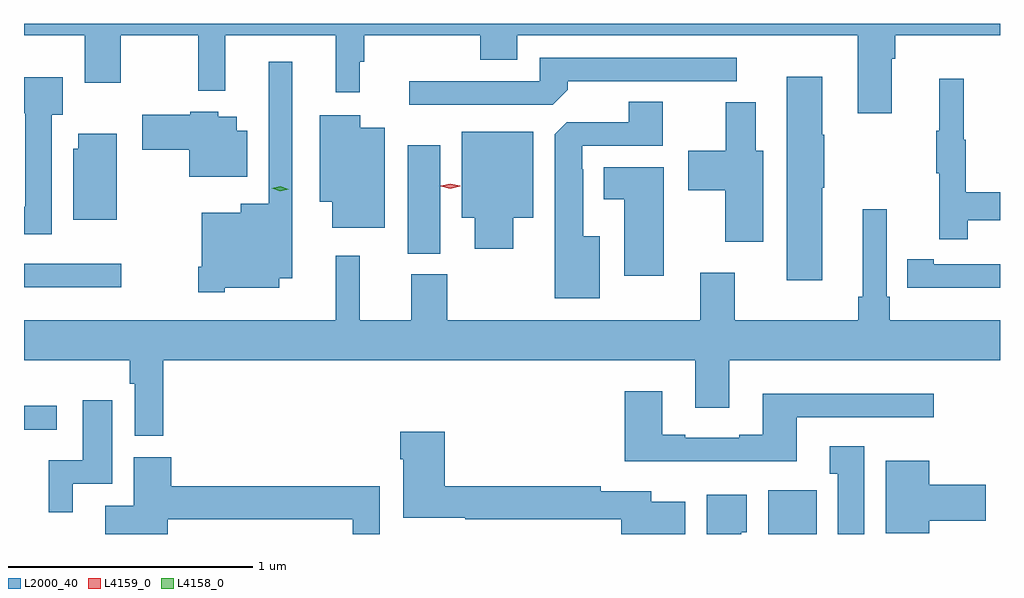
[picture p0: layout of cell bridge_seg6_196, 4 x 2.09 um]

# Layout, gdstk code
import gdstk
lib = gdstk.Library(unit=1e-6, precision=1e-09)
def R(c, l, rs):  # rectangles x0, y0, x1, y1
    for r in rs: c.add(gdstk.rectangle(r[:2], r[2:], *l))
def P(c, l, *ps):  # polygons
    for p in ps: c.add(gdstk.Polygon(p, *l))
L2000_40 = (2000, 40)
L4158_0 = (4158, 0)
L4159_0 = (4159, 0)

bridge_seg6_196 = lib.new_cell('bridge_seg6_196')
R(bridge_seg6_196, L2000_40, [(145.307,995.907,145.504,996.088), (142.256,996.336,142.39,996.434), (142.256,996.92,142.654,997.017), (143.828,997.057,143.962,997.501)])
P(bridge_seg6_196, L2000_40, [(145.813,997.856),(145.826,997.856),(145.826,997.952),(146.256,997.952),(146.256,998),(142.256,998),(142.256,997.952),(142.505,997.952),(142.505,997.758),(142.653,997.758),(142.653,997.952),(142.971,997.952),(142.971,997.724),(143.081,997.724),(143.081,997.952),(143.534,997.952),(143.534,997.719),(143.633,997.719),(143.633,997.844),(143.651,997.844),(143.651,997.952),(144.125,997.952),(144.125,997.853),(144.277,997.853),(144.277,997.952),(145.673,997.952),(145.673,997.632),(145.813,997.632)],
  [(144.485,997.73),(144.485,997.764),(145.177,997.764),(145.177,997.86),(144.369,997.86),(144.369,997.764),(143.835,997.764),(143.835,997.668),(144.423,997.668)],
  [(143.079,996.917),(143.302,996.917),(143.302,996.956),(143.355,996.956),(143.355,997.843),(143.259,997.843),(143.259,997.261),(143.144,997.261),(143.144,997.225),(142.985,997.225),(142.985,997.003),(142.971,997.003),(142.971,996.899),(143.079,996.899)],
  [(145.528,997.327),(145.536,997.327),(145.536,997.544),(145.528,997.544),(145.528,997.783),(145.382,997.783),(145.382,996.948),(145.528,996.948)],
  [(142.369,997.626),(142.414,997.626),(142.414,997.78),(142.256,997.78),(142.256,997.633),(142.262,997.633),(142.262,997.25),(142.256,997.25),(142.256,997.137),(142.369,997.137)],
  [(146.123,997.194),(146.256,997.194),(146.256,997.31),(146.116,997.31),(146.116,997.524),(146.108,997.524),(146.108,997.774),(146.006,997.774),(146.006,997.561),(145.995,997.561),(145.995,997.387),(146.006,997.387),(146.006,997.116),(146.123,997.116)],
  [(144.616,997.129),(144.547,997.129),(144.547,997.403),(144.543,997.403),(144.543,997.5),(144.874,997.5),(144.874,997.679),(144.734,997.679),(144.734,997.596),(144.48,997.596),(144.431,997.547),(144.431,996.875),(144.616,996.875)],
  [(145.285,997.48),(145.255,997.48),(145.255,997.678),(145.133,997.678),(145.133,997.48),(144.978,997.48),(144.978,997.318),(145.13,997.318),(145.13,997.107),(145.285,997.107)],
  [(143.17,997.561),(143.128,997.561),(143.128,997.618),(143.052,997.618),(143.052,997.639),(142.938,997.639),(142.938,997.626),(142.74,997.626),(142.74,997.484),(142.934,997.484),(142.934,997.373),(143.17,997.373)],
  [(143.734,997.573),(143.634,997.573),(143.634,997.624),(143.468,997.624),(143.468,997.271),(143.519,997.271),(143.519,997.163),(143.734,997.163)],
  [(144.262,997.205),(144.343,997.205),(144.343,997.558),(144.05,997.558),(144.05,997.205),(144.104,997.205),(144.104,997.077),(144.262,997.077)],
  [(142.636,997.549),(142.478,997.549),(142.478,997.488),(142.457,997.488),(142.457,997.196),(142.636,997.196)],
  [(144.877,997.411),(144.632,997.411),(144.632,997.28),(144.716,997.28),(144.716,996.966),(144.877,996.966)],
  [(142.826,996.62),(145.007,996.62),(145.007,996.426),(145.147,996.426),(145.147,996.62),(146.256,996.62),(146.256,996.784),(145.805,996.784),(145.805,996.88),(145.791,996.88),(145.791,997.24),(145.694,997.24),(145.694,996.88),(145.675,996.88),(145.675,996.784),(145.168,996.784),(145.168,996.979),(145.028,996.979),(145.028,996.784),(143.991,996.784),(143.991,996.972),(143.843,996.972),(143.843,996.784),(143.633,996.784),(143.633,997.048),(143.533,997.048),(143.533,996.784),(142.256,996.784),(142.256,996.62),(142.69,996.62),(142.69,996.524),(142.71,996.524),(142.71,996.312),(142.826,996.312)],
  [(146.256,997.014),(145.984,997.014),(145.984,997.034),(145.876,997.034),(145.876,996.918),(145.984,996.918),(145.984,996.917),(146.256,996.917)],
  [(145.423,996.387),(145.984,996.387),(145.984,996.484),(145.283,996.484),(145.283,996.316),(145.187,996.316),(145.187,996.303),(144.967,996.303),(144.967,996.316),(144.871,996.316),(144.871,996.493),(144.719,996.493),(144.719,996.206),(145.423,996.206)],
  [(142.456,996.114),(142.618,996.114),(142.618,996.457),(142.496,996.457),(142.496,996.21),(142.358,996.21),(142.358,995.997),(142.456,995.997)],
  [(144.967,996.04),(144.826,996.04),(144.826,996.084),(144.62,996.084),(144.62,996.104),(143.981,996.104),(143.981,996.328),(143.798,996.328),(143.798,996.215),(143.81,996.215),(143.81,995.975),(144.064,995.975),(144.064,995.968),(144.704,995.968),(144.704,995.907),(144.967,995.907)],
  [(145.699,996.268),(145.559,996.268),(145.559,996.155),(145.592,996.155),(145.592,995.907),(145.699,995.907)],
  [(142.846,995.968),(143.603,995.968),(143.603,995.907),(143.715,995.907),(143.715,996.104),(142.859,996.104),(142.859,996.223),(142.706,996.223),(142.706,996.025),(142.589,996.025),(142.589,995.907),(142.846,995.907)],
  [(145.966,995.963),(146.197,995.963),(146.197,996.11),(145.966,996.11),(145.966,996.208),(145.787,996.208),(145.787,995.912),(145.966,995.912)],
  [(145.195,995.916),(145.219,995.916),(145.219,996.07),(145.055,996.07),(145.055,995.907),(145.195,995.907)])
P(bridge_seg6_196, L4158_0, [(143.306,997.313),(143.272,997.325),(143.272,997.325),(143.272,997.325),(143.307,997.333),(143.341,997.321),(143.341,997.321),(143.341,997.321)])
P(bridge_seg6_196, L4159_0, [(144.003,997.324),(143.964,997.334),(143.964,997.334),(143.964,997.335),(144.003,997.344),(144.043,997.335),(144.043,997.334),(144.043,997.334)])

lib.write_gds('bridge_seg6_196.gds')
